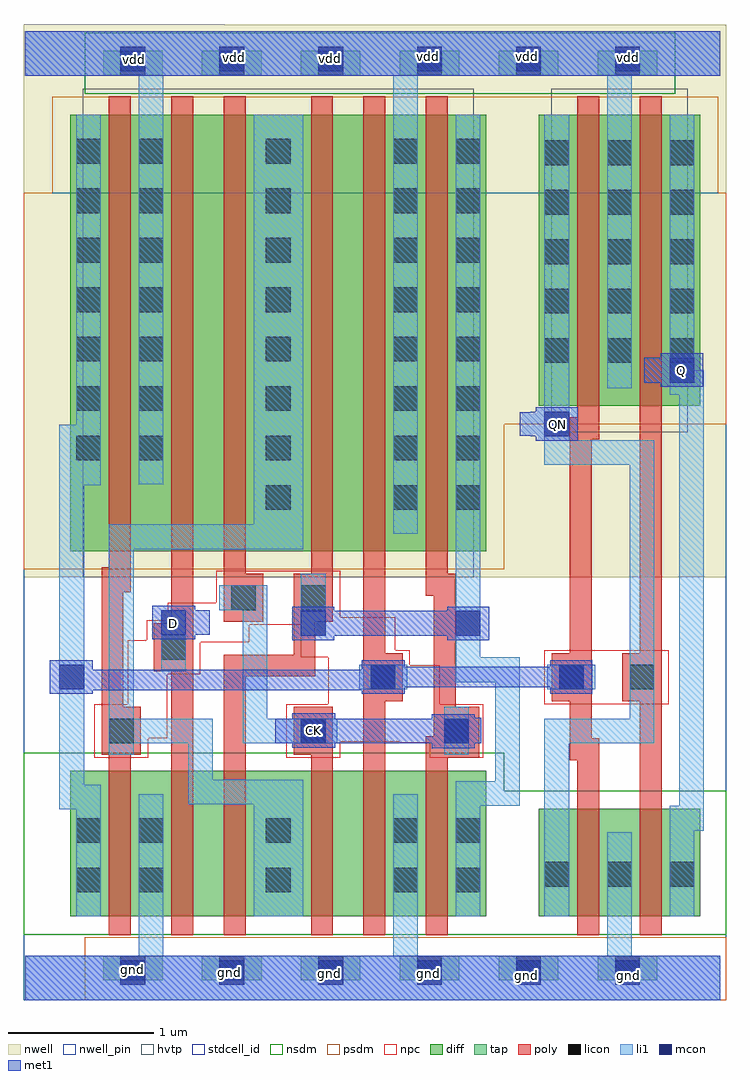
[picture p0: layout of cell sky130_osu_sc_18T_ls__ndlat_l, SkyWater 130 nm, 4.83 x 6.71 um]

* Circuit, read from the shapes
.subckt sky130_osu_sc_18T_ls__ndlat_l CK D Q QN gnd vdd
XM1 gnd n1 n2 gnd sky130_fd_pr__nfet_01v8 w=1 l=0.15
XM2 n3 D gnd gnd sky130_fd_pr__nfet_01v8 w=1 l=0.15
XM3 n1 n4 n3 gnd sky130_fd_pr__nfet_01v8 w=1 l=0.15
XM4 n5 CK n1 gnd sky130_fd_pr__nfet_01v8 w=1 l=0.15
XM5 gnd n2 n5 gnd sky130_fd_pr__nfet_01v8 w=1 l=0.15
XM6 n4 CK gnd gnd sky130_fd_pr__nfet_01v8 w=1 l=0.15
XM7 gnd n2 QN gnd sky130_fd_pr__nfet_01v8 w=0.74 l=0.15
XM8 Q QN gnd gnd sky130_fd_pr__nfet_01v8 w=0.74 l=0.15
XM9 vdd n1 n2 vdd sky130_fd_pr__pfet_01v8_hvt w=3 l=0.15
XM10 n6 D vdd vdd sky130_fd_pr__pfet_01v8_hvt w=3 l=0.15
XM11 n1 CK n6 vdd sky130_fd_pr__pfet_01v8_hvt w=3 l=0.15
XM12 n7 n4 n1 vdd sky130_fd_pr__pfet_01v8_hvt w=3 l=0.15
XM13 vdd n2 n7 vdd sky130_fd_pr__pfet_01v8_hvt w=3 l=0.15
XM14 n4 CK vdd vdd sky130_fd_pr__pfet_01v8_hvt w=3 l=0.15
XM15 vdd n2 QN vdd sky130_fd_pr__pfet_01v8_hvt w=2 l=0.15
XM16 Q QN vdd vdd sky130_fd_pr__pfet_01v8_hvt w=2 l=0.15
.ends

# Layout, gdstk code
import gdstk
lib = gdstk.Library(unit=1e-6, precision=1e-09)
def R(c, l, rs):  # rectangles x0, y0, x1, y1
    for r in rs: c.add(gdstk.rectangle(r[:2], r[2:], *l))
def A(c, l, x, y, w, h, nx, ny, dx, dy):  # array of equal rectangles
    R(c, l, [(x+i*dx, y+j*dy, x+i*dx+w, y+j*dy+h) for i in range(nx) for j in range(ny)])
nwell_pin = (64, 16)
nwell = (64, 20)
diff = (65, 20)
tap = (65, 44)
poly = (66, 20)
licon = (66, 44)
li1 = (67, 20)
mcon = (67, 44)
met1 = (68, 20)
hvtp = (78, 44)
stdcell_id = (81, 4)
nsdm = (93, 44)
psdm = (94, 20)
npc = (95, 20)

sky130_osu_sc_18t_ls__nd = lib.new_cell('sky130_osu_sc_18T_ls__ndlat_l')
R(sky130_osu_sc_18t_ls__nd, nwell_pin, [(1.02,6.465,1.04,6.47), (1.71,6.475,1.73,6.48)])
R(sky130_osu_sc_18t_ls__nd, nwell, [(0.27,2.905,5.1,6.705), (0.27,6.705,1.65,6.71)])
R(sky130_osu_sc_18t_ls__nd, diff, [(0.59,0.575,3.45,1.575), (3.81,0.575,4.92,1.315), (0.59,3.085,3.45,6.085), (3.81,4.085,4.92,6.085)])
A(sky130_osu_sc_18t_ls__nd, tap, 0.815, 0.135, 0.41, 0.17, 6, 2, 0.68, 6.22)
R(sky130_osu_sc_18t_ls__nd, poly, [(0.855,0.445,1.005,1.685), (1.285,0.445,1.435,2.26), (1.645,0.445,1.795,2.225), (2.245,0.445,2.395,1.685), (2.605,0.445,2.755,2.055), (3.035,0.445,3.185,1.665), (4.075,0.445,4.225,1.65), (4.505,0.445,4.655,2.055), (4.025,1.65,4.225,1.8), (3.035,1.665,3.4,1.815), (0.805,1.685,1.075,2.015), (2.125,1.685,2.395,2.015), (4.025,1.8,4.175,2.055), (3.09,1.815,3.4,2.015), (0.805,2.015,0.955,2.805), (3.09,2.015,3.24,2.78), (2.605,2.055,2.875,2.385), (3.9,2.055,4.175,2.385), (4.385,2.055,4.655,2.385), (1.645,2.225,2.275,2.375), (1.165,2.26,1.435,2.59), (2.125,2.375,2.275,2.6), (2.605,2.385,2.755,6.215), (4.025,2.385,4.175,3.855), (4.505,2.385,4.655,6.215), (1.285,2.59,1.435,6.215), (1.645,2.6,1.915,2.93), (2.125,2.6,2.395,2.93), (3.035,2.78,3.24,2.93), (0.805,2.805,1.005,2.975), (1.645,2.93,1.795,6.215), (2.245,2.93,2.395,6.215), (3.035,2.93,3.185,6.215), (0.855,2.975,1.005,6.215), (4.025,3.855,4.225,4.005), (4.075,4.005,4.225,6.215)])
A(sky130_osu_sc_18t_ls__nd, licon, 0.935, 0.135, 0.17, 0.17, 6, 2, 0.68, 6.22)
A(sky130_osu_sc_18t_ls__nd, licon, 1.06, 0.74, 0.17, 0.17, 3, 2, 0.875, 0.34)
A(sky130_osu_sc_18t_ls__nd, licon, 3.85, 0.78, 0.17, 0.17, 3, 2, 0.43, 3.6)
A(sky130_osu_sc_18t_ls__nd, licon, 3.24, 3.37, 0.17, 0.17, 1, 8, 0, 0.34)
A(sky130_osu_sc_18t_ls__nd, licon, 0.63, 3.71, 0.17, 0.17, 1, 7, 0, 0.34)
A(sky130_osu_sc_18t_ls__nd, licon, 1.06, 3.71, 0.17, 0.17, 3, 7, 0.875, 0.34)
A(sky130_osu_sc_18t_ls__nd, licon, 3.85, 4.72, 0.17, 0.17, 3, 4, 0.43, 0.34)
R(sky130_osu_sc_18t_ls__nd, licon, [(0.63,0.74,0.8,0.91), (3.24,0.74,3.41,0.91), (0.63,1.08,0.8,1.25), (3.24,1.08,3.41,1.25), (0.855,1.765,1.025,1.935), (2.175,1.765,2.345,1.935), (3.16,1.765,3.33,1.935), (2.655,2.135,2.825,2.305), (3.95,2.135,4.12,2.305), (4.435,2.135,4.605,2.305), (1.215,2.34,1.385,2.51), (1.695,2.68,1.865,2.85), (2.175,2.68,2.345,2.85), (1.935,3.37,2.105,3.54), (2.81,3.37,2.98,3.54)])
R(sky130_osu_sc_18t_ls__nd, li1, [(0.28,0,5.06,0.305), (1.06,0.305,1.23,1.415), (2.81,0.305,2.98,1.415), (4.28,0.305,4.45,1.155), (0.63,0.575,0.8,1.31), (1.85,0.575,2.19,1.345), (3.24,0.575,3.41,1.335), (3.85,0.575,4.02,1.765), (4.71,0.575,4.88,1.165), (4.71,1.165,4.945,1.335), (0.515,1.31,0.8,1.48), (3.24,1.335,3.68,1.505), (4.775,1.335,4.945,4.16), (1.4,1.345,2.19,1.515), (0.515,1.48,0.685,3.54), (3.51,1.505,3.68,2.185), (1.4,1.515,1.57,1.765), (0.855,1.685,1.025,1.765), (3.16,1.685,3.33,2.015), (0.855,1.765,1.57,1.935), (1.775,1.765,2.425,1.935), (3.85,1.765,4.605,1.935), (0.855,1.935,1.025,3.1), (1.775,1.935,1.945,2.68), (4.435,1.935,4.605,3.68), (2.575,2.135,2.905,2.305), (3.87,2.135,4.2,2.305), (3.24,2.185,3.68,2.355), (1.215,2.26,1.385,2.68), (3.24,2.355,3.41,6.085), (2.175,2.505,2.345,2.93), (1.615,2.68,1.945,2.85), (0.855,3.1,2.19,3.27), (2.81,3.205,2.98,6.355), (1.85,3.27,2.19,6.085), (0.515,3.54,0.8,3.955), (1.06,3.545,1.23,6.355), (3.85,3.68,4.605,3.85), (3.85,3.85,4.02,6.085), (0.63,3.955,0.8,6.085), (4.71,4.16,4.945,4.33), (4.28,4.205,4.45,6.355), (4.71,4.33,4.88,6.085), (0.28,6.355,5.06,6.66)])
A(sky130_osu_sc_18t_ls__nd, mcon, 0.935, 0.105, 0.17, 0.17, 6, 2, 0.68, 6.28)
R(sky130_osu_sc_18t_ls__nd, mcon, [(2.175,1.765,2.345,1.935), (3.16,1.765,3.33,1.935), (0.515,2.135,0.685,2.305), (2.655,2.135,2.825,2.305), (3.95,2.135,4.12,2.305), (2.175,2.505,2.345,2.675), (3.24,2.505,3.41,2.675), (1.215,2.51,1.385,2.68), (3.85,3.875,4.02,4.045), (4.71,4.245,4.88,4.415)])
R(sky130_osu_sc_18t_ls__nd, met1, [(0.28,0,5.06,0.305), (3.075,1.73,3.37,1.765), (2.115,1.735,2.41,1.765), (2,1.765,3.415,1.935), (2.115,1.935,2.41,1.97), (3.075,1.935,3.415,1.94), (3.075,1.94,3.37,1.965), (0.45,2.105,0.745,2.13), (2.595,2.105,2.89,2.13), (3.89,2.105,4.18,2.15), (0.45,2.13,2.89,2.15), (0.45,2.15,4.18,2.27), (0.45,2.27,0.745,2.335), (2.595,2.27,4.18,2.29), (2.595,2.29,2.89,2.335), (3.89,2.29,4.18,2.335), (2.115,2.475,2.405,2.505), (3.18,2.475,3.47,2.505), (1.155,2.48,1.45,2.51), (2.115,2.505,3.47,2.675), (1.155,2.51,1.55,2.68), (2.115,2.675,2.405,2.705), (3.18,2.675,3.47,2.705), (1.155,2.68,1.45,2.71), (3.79,3.845,4.08,3.875), (3.755,3.875,4.08,3.88), (3.68,3.88,4.08,4.04), (3.755,4.04,4.08,4.045), (3.79,4.045,4.08,4.075), (4.65,4.215,4.94,4.245), (4.535,4.245,4.94,4.415), (4.65,4.415,4.94,4.445), (0.28,6.355,5.06,6.66)])
R(sky130_osu_sc_18t_ls__nd, hvtp, [(0.675,2.905,3.365,6.265), (3.895,3.905,4.835,6.265)])
R(sky130_osu_sc_18t_ls__nd, stdcell_id, [(0.27,0,5.1,5.55)])
R(sky130_osu_sc_18t_ls__nd, nsdm, [(0.27,0.45,5.1,1.44), (0.27,1.44,3.575,1.7), (0.69,6.23,4.75,6.65)])
R(sky130_osu_sc_18t_ls__nd, psdm, [(0.69,0,5.1,0.43), (0.27,2.96,3.575,3.96), (0.27,3.96,5.1,5.55), (0.465,5.55,5.045,6.21)])
R(sky130_osu_sc_18t_ls__nd, npc, [(0.755,1.665,1.125,1.8), (2.075,1.665,2.445,1.775), (3.06,1.665,3.43,1.77), (2.855,1.77,3.43,1.775), (2.075,1.775,3.43,2.035), (0.755,1.8,1.255,2.035), (0.985,2.035,1.255,2.24), (2.365,2.035,3.13,2.3), (3.85,2.035,4.705,2.405), (0.985,2.24,1.485,2.46), (2.365,2.3,2.925,2.355), (2.175,2.355,2.925,2.405), (2.175,2.405,2.825,2.58), (0.985,2.46,1.82,2.475), (1.115,2.475,1.82,2.58), (1.115,2.58,2.825,2.61), (1.26,2.61,2.825,2.63), (1.26,2.63,2.445,2.73), (1.595,2.73,2.445,2.95)])
sky130_osu_sc_18t_ls__nd.add(gdstk.Label('gnd', (1.02,0.21), layer=68, texttype=16))
sky130_osu_sc_18t_ls__nd.add(gdstk.Label('gnd', (1.685,0.19), layer=68, texttype=16))
sky130_osu_sc_18t_ls__nd.add(gdstk.Label('gnd', (2.375,0.18), layer=68, texttype=16))
sky130_osu_sc_18t_ls__nd.add(gdstk.Label('gnd', (3.055,0.18), layer=68, texttype=16))
sky130_osu_sc_18t_ls__nd.add(gdstk.Label('gnd', (3.725,0.17), layer=68, texttype=16))
sky130_osu_sc_18t_ls__nd.add(gdstk.Label('gnd', (4.43,0.17), layer=68, texttype=16))
sky130_osu_sc_18t_ls__nd.add(gdstk.Label('vdd', (1.03,6.467), layer=64, texttype=16))
sky130_osu_sc_18t_ls__nd.add(gdstk.Label('vdd', (1.72,6.477), layer=64, texttype=16))
sky130_osu_sc_18t_ls__nd.add(gdstk.Label('vdd', (2.38,6.475), layer=68, texttype=16))
sky130_osu_sc_18t_ls__nd.add(gdstk.Label('vdd', (3.055,6.485), layer=68, texttype=16))
sky130_osu_sc_18t_ls__nd.add(gdstk.Label('vdd', (3.735,6.49), layer=68, texttype=16))
sky130_osu_sc_18t_ls__nd.add(gdstk.Label('vdd', (4.425,6.48), layer=68, texttype=16))
sky130_osu_sc_18t_ls__nd.add(gdstk.Label('D', (1.3,2.59), layer=68, texttype=5))
sky130_osu_sc_18t_ls__nd.add(gdstk.Label('CK', (2.26,1.85), layer=68, texttype=5))
sky130_osu_sc_18t_ls__nd.add(gdstk.Label('Q', (4.795,4.33), layer=68, texttype=5))
sky130_osu_sc_18t_ls__nd.add(gdstk.Label('QN', (3.94,3.96), layer=68, texttype=5))

lib.write_gds('sky130_osu_sc_18T_ls__ndlat_l.gds')
